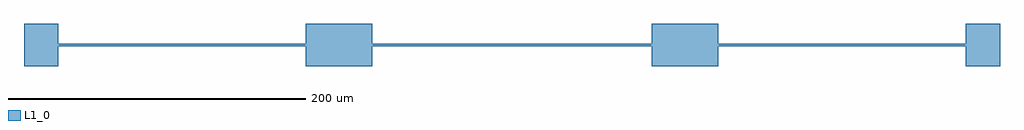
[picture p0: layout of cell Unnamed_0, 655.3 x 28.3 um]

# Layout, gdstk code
import gdstk
lib = gdstk.Library(unit=1e-6, precision=1e-09)
def R(c, l, rs):  # rectangles x0, y0, x1, y1
    for r in rs: c.add(gdstk.rectangle(r[:2], r[2:], *l))
L1_0 = (1, 0)

straight_l23_n2_csstrip_ = lib.new_cell('straight_L23_N2_CSstrip_W28p3')
R(straight_l23_n2_csstrip_, L1_0, [(0,-14.15,23,14.15)])

unnamed_1 = lib.new_cell('Unnamed_1')
unnamed_1.add(gdstk.Reference(straight_l23_n2_csstrip_, (0,0)))

straight_l166p1_n2_csstr = lib.new_cell('straight_L166p1_N2_CSstrip_W1p4')
R(straight_l166p1_n2_csstr, L1_0, [(0,-0.7,166.1,0.7)])

unnamed_3 = lib.new_cell('Unnamed_3')
unnamed_3.add(gdstk.Reference(straight_l166p1_n2_csstr, (23,0)))

straight_l44p6_n2_csstri = lib.new_cell('straight_L44p6_N2_CSstrip_W28p3')
R(straight_l44p6_n2_csstri, L1_0, [(0,-14.15,44.6,14.15)])

unnamed_5 = lib.new_cell('Unnamed_5')
unnamed_5.add(gdstk.Reference(straight_l44p6_n2_csstri, (189.1,0)))

straight_l187p9_n2_csstr = lib.new_cell('straight_L187p9_N2_CSstrip_W1p4')
R(straight_l187p9_n2_csstr, L1_0, [(0,-0.7,187.9,0.7)])

unnamed_7 = lib.new_cell('Unnamed_7')
unnamed_7.add(gdstk.Reference(straight_l187p9_n2_csstr, (233.7,0)))

unnamed_9 = lib.new_cell('Unnamed_9')
unnamed_9.add(gdstk.Reference(straight_l44p6_n2_csstri, (421.6,0)))

unnamed_10 = lib.new_cell('Unnamed_10')
unnamed_10.add(gdstk.Reference(straight_l166p1_n2_csstr, (466.2,0)))

unnamed_11 = lib.new_cell('Unnamed_11')
unnamed_11.add(gdstk.Reference(straight_l23_n2_csstrip_, (632.3,0)))

unnamed_0 = lib.new_cell('Unnamed_0')
unnamed_0.add(gdstk.Reference(unnamed_1, (0,0)))
unnamed_0.add(gdstk.Reference(unnamed_3, (0,0)))
unnamed_0.add(gdstk.Reference(unnamed_5, (0,0)))
unnamed_0.add(gdstk.Reference(unnamed_7, (0,0)))
unnamed_0.add(gdstk.Reference(unnamed_9, (0,0)))
unnamed_0.add(gdstk.Reference(unnamed_10, (0,0)))
unnamed_0.add(gdstk.Reference(unnamed_11, (0,0)))

lib.write_gds('Unnamed_0.gds')
